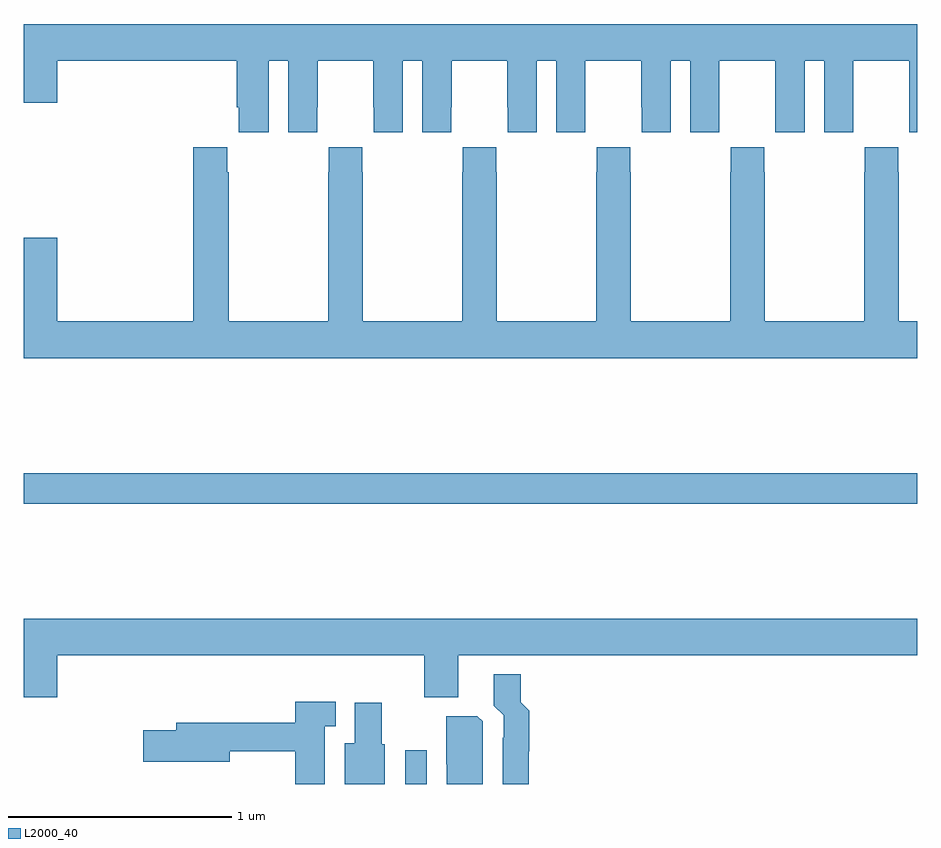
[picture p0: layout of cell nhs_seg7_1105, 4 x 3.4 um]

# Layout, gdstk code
import gdstk
lib = gdstk.Library(unit=1e-6, precision=1e-09)
def R(c, l, rs):  # rectangles x0, y0, x1, y1
    for r in rs: c.add(gdstk.rectangle(r[:2], r[2:], *l))
def P(c, l, *ps):  # polygons
    for p in ps: c.add(gdstk.Polygon(p, *l))
L2000_40 = (2000, 40)

nhs_seg7_1105 = lib.new_cell('nhs_seg7_1105')
R(nhs_seg7_1105, L2000_40, [(190.707,1040,190.803,1040.152), (189,1041.256,193,1041.392)])
P(nhs_seg7_1105, L2000_40, [(189,1043.052),(189.148,1043.052),(189.148,1043.24),(189.953,1043.24),(189.953,1043.032),(189.962,1043.032),(189.962,1042.92),(190.096,1042.92),(190.096,1043.24),(190.184,1043.24),(190.184,1042.92),(190.314,1042.92),(190.314,1043.032),(190.315,1043.032),(190.315,1043.24),(190.565,1043.24),(190.565,1043.032),(190.566,1043.032),(190.566,1042.92),(190.696,1042.92),(190.696,1043.24),(190.784,1043.24),(190.784,1042.92),(190.914,1042.92),(190.914,1043.032),(190.915,1043.032),(190.915,1043.24),(191.165,1043.24),(191.165,1043.032),(191.166,1043.032),(191.166,1042.92),(191.296,1042.92),(191.296,1043.24),(191.384,1043.24),(191.384,1042.92),(191.514,1042.92),(191.514,1043.032),(191.515,1043.032),(191.515,1043.24),(191.765,1043.24),(191.765,1043.032),(191.766,1043.032),(191.766,1042.92),(191.896,1042.92),(191.896,1043.24),(191.984,1043.24),(191.984,1042.92),(192.114,1042.92),(192.114,1043.032),(192.115,1043.032),(192.115,1043.24),(192.365,1043.24),(192.365,1043.032),(192.366,1043.032),(192.366,1042.92),(192.496,1042.92),(192.496,1043.24),(192.584,1043.24),(192.584,1042.92),(192.714,1042.92),(192.714,1043.032),(192.715,1043.032),(192.715,1043.24),(192.965,1043.24),(192.965,1043.032),(192.966,1043.032),(192.966,1042.92),(193,1042.92),(193,1043.404),(189,1043.404)],
  [(193,1042.072),(192.918,1042.072),(192.918,1042.739),(192.915,1042.739),(192.915,1042.852),(192.765,1042.852),(192.765,1042.739),(192.763,1042.739),(192.763,1042.072),(192.318,1042.072),(192.318,1042.739),(192.315,1042.739),(192.315,1042.852),(192.165,1042.852),(192.165,1042.739),(192.163,1042.739),(192.163,1042.072),(191.718,1042.072),(191.718,1042.739),(191.715,1042.739),(191.715,1042.852),(191.565,1042.852),(191.565,1042.739),(191.563,1042.739),(191.563,1042.072),(191.118,1042.072),(191.118,1042.739),(191.115,1042.739),(191.115,1042.852),(190.965,1042.852),(190.965,1042.739),(190.963,1042.739),(190.963,1042.072),(190.518,1042.072),(190.518,1042.739),(190.515,1042.739),(190.515,1042.852),(190.365,1042.852),(190.365,1042.739),(190.363,1042.739),(190.363,1042.072),(189.918,1042.072),(189.918,1042.739),(189.911,1042.739),(189.911,1042.852),(189.758,1042.852),(189.758,1042.072),(189.148,1042.072),(189.148,1042.447),(189,1042.447),(189,1041.908),(193,1041.908)],
  [(189.148,1040.576),(190.793,1040.576),(190.793,1040.389),(190.945,1040.389),(190.945,1040.576),(193,1040.576),(193,1040.74),(189,1040.74),(189,1040.388),(189.148,1040.388)],
  [(191.261,1040.146),(191.264,1040.146),(191.264,1040.328),(191.225,1040.367),(191.225,1040.491),(191.105,1040.491),(191.105,1040.35),(191.148,1040.307),(191.148,1040.207),(191.145,1040.207),(191.145,1040),(191.261,1040)],
  [(190.348,1040.259),(190.396,1040.259),(190.396,1040.369),(190.214,1040.369),(190.214,1040.275),(189.683,1040.275),(189.683,1040.241),(189.534,1040.241),(189.534,1040.099),(189.922,1040.099),(189.922,1040.146),(190.214,1040.146),(190.214,1040),(190.348,1040)],
  [(190.615,1040.178),(190.603,1040.178),(190.603,1040.365),(190.481,1040.365),(190.481,1040.182),(190.436,1040.182),(190.436,1040),(190.615,1040)],
  [(191.055,1040.28),(191.031,1040.304),(190.892,1040.304),(190.892,1040.089),(190.893,1040.089),(190.893,1040),(191.055,1040)])

lib.write_gds('nhs_seg7_1105.gds')
